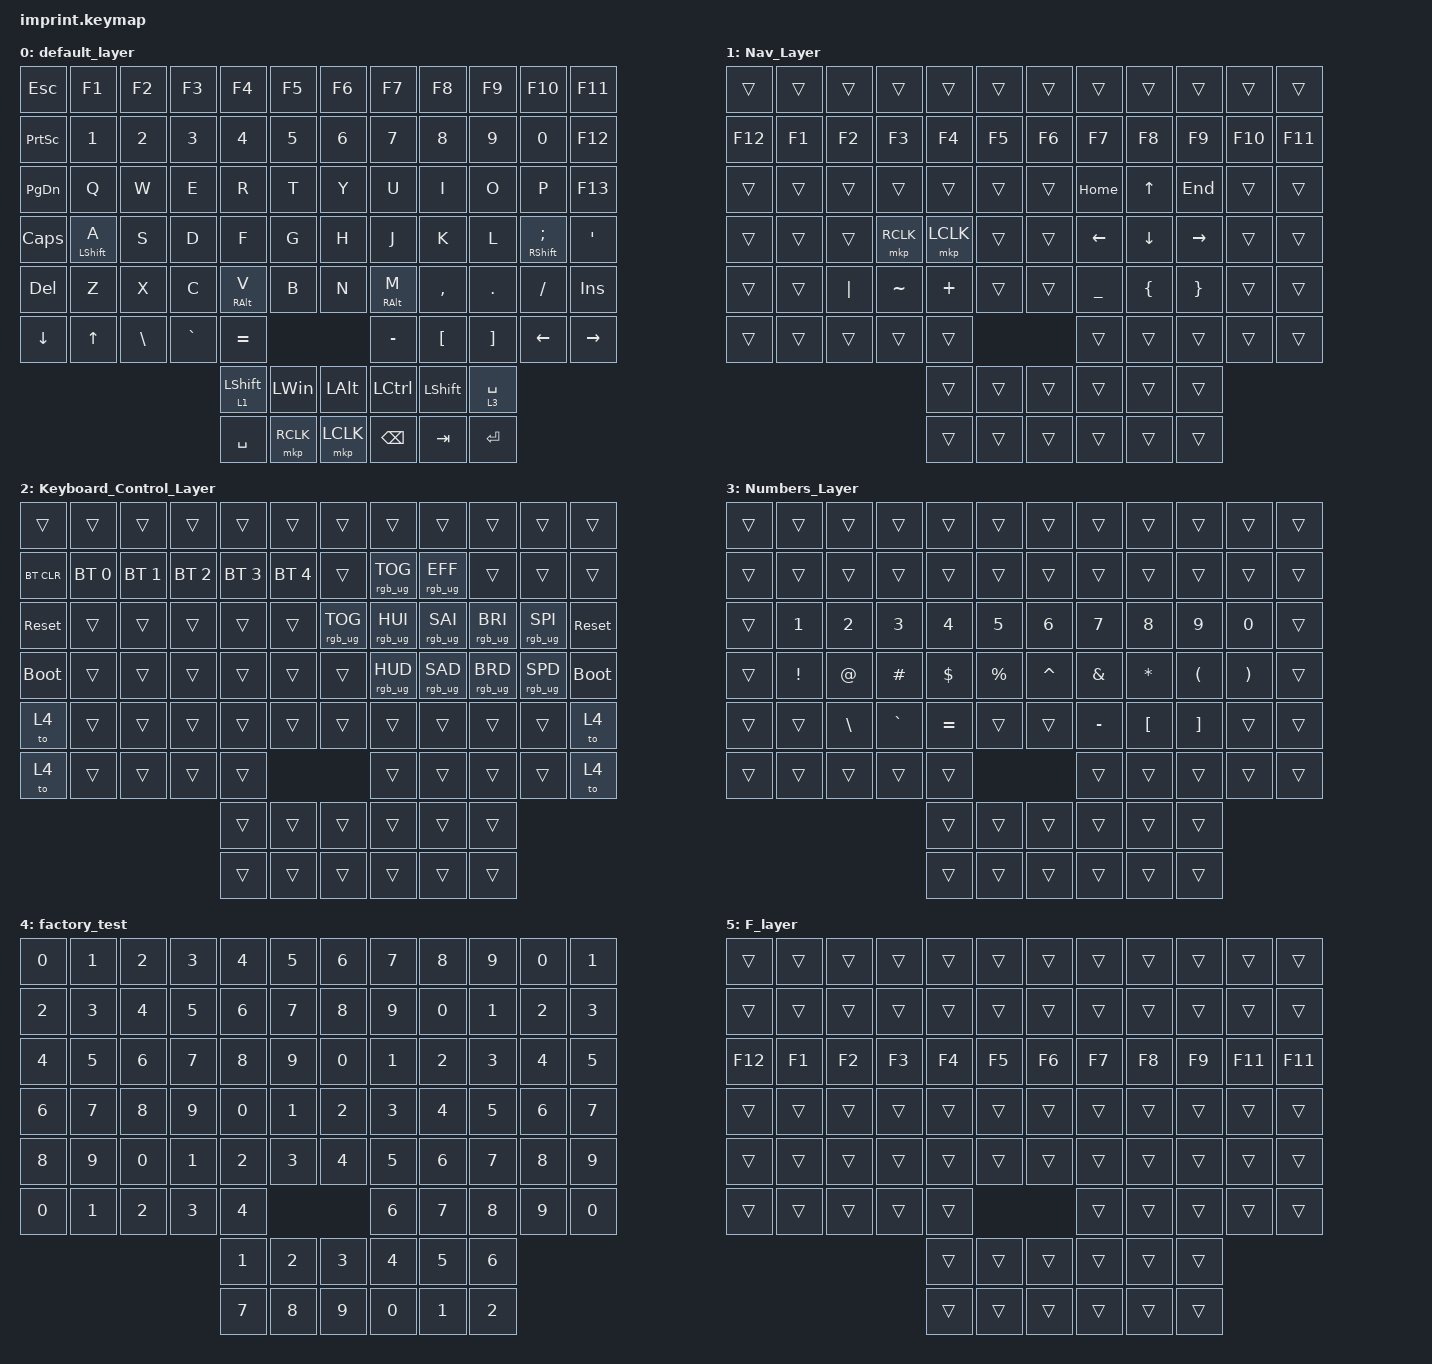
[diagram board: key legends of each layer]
#include <input/processors.dtsi>
#include <dt-bindings/zmk/input_transform.h>
#include <behaviors.dtsi>
#include <dt-bindings/zmk/bt.h>
#include <dt-bindings/zmk/keys.h>
#include <dt-bindings/zmk/pointing.h>
#include <dt-bindings/zmk/rgb.h>

/ {
    chosen { zmk,matrix-transform = &imprint_function_row_full_bottom_row; };

    combos {
        compatible = "zmk,combos";

        delete {
            bindings = <&kp DELETE>;
            key-positions = <32 31>;
        };

        backspace {
            bindings = <&kp BACKSPACE>;
            key-positions = <33 32>;
        };

        enter {
            bindings = <&kp ENTER>;
            key-positions = <55 56>;
        };

        tab {
            bindings = <&kp TAB>;
            key-positions = <28 27>;
        };

        insert {
            bindings = <&kp INS>;
            key-positions = <51 52>;
        };

        escape {
            bindings = <&kp ESCAPE>;
            key-positions = <27 26>;
        };

        left_control {
            bindings = <&kp LEFT_CONTROL>;
            key-positions = <40 39>;
        };

        right_control {
            bindings = <&kp LEFT_CONTROL>;
            key-positions = <43 44>;
        };

        left_alt {
            bindings = <&kp LEFT_ALT>;
            key-positions = <38 39>;
        };

        right_alt {
            bindings = <&kp LEFT_ALT>;
            key-positions = <45 44>;
        };

        control_alt_left {
            bindings = <&kp LA(LCTRL)>;
            key-positions = <40 39 38>;
        };

        control_alt_right {
            bindings = <&kp LA(LCTRL)>;
            key-positions = <43 44 45>;
        };

        win_f {
            bindings = <&kp LG(F)>;
            key-positions = <28 27 26>;
        };

        win_j {
            bindings = <&kp LG(J)>;
            key-positions = <31 32 33>;
        };

        left_win {
            bindings = <&kp LEFT_WIN>;
            key-positions = <52 51 50>;
        };

        right_win {
            bindings = <&kp LEFT_WIN>;
            key-positions = <55 56 57>;
        };

        f_layer {
            bindings = <&mo 5>;
            key-positions = <70 75>;
        };
    };

    macros {
        test: test {
            compatible = "zmk,behavior-macro";
            #binding-cells = <0>;
            bindings = <&none>;
            label = "TEST";
        };
    };

    keymap {
        compatible = "zmk,keymap";

        default_layer {
            bindings = <
&kp ESC          &kp F1            &kp F2         &kp F3     &kp F4            &kp F5                        &kp F6         &kp F7           &kp F8       &kp F9      &kp F10                    &kp F11
&kp PRINTSCREEN  &kp N1            &kp N2         &kp N3     &kp N4            &kp N5                        &kp N6         &kp N7           &kp N8       &kp N9      &kp N0                     &kp F12
&kp PAGE_DOWN    &kp Q             &kp W          &kp E      &kp R             &kp T                         &kp Y          &kp U            &kp I        &kp O       &kp P                      &kp F13
&kp CAPSLOCK     &mt LEFT_SHIFT A  &kp S          &kp D      &kp F             &kp G                         &kp H          &kp J            &kp K        &kp L       &mt RIGHT_SHIFT SEMICOLON  &kp SQT
&kp DEL          &kp Z             &kp X          &kp C      &mt RIGHT_ALT V   &kp B                         &kp N          &mt RIGHT_ALT M  &kp COMMA    &kp PERIOD  &kp SLASH                  &kp INS
&kp DOWN         &kp UP_ARROW      &kp BACKSLASH  &kp GRAVE  &kp EQUAL                                                      &kp MINUS        &kp LBKT     &kp RBKT    &kp LEFT                   &kp RIGHT
                                                             &lt 1 LEFT_SHIFT  &kp LEFT_WIN  &kp LEFT_ALT    &kp LCTRL      &kp LEFT_SHIFT   &lt 3 SPACE
                                                             &kp SPACE         &mkp RCLK     &mkp LCLK       &kp BACKSPACE  &kp TAB          &kp ENTER
            >;
        };

        Nav_Layer {
            bindings = <
&trans   &trans  &trans    &trans     &trans     &trans            &trans  &trans          &trans          &trans           &trans   &trans
&kp F12  &kp F1  &kp F2    &kp F3     &kp F4     &kp F5            &kp F6  &kp F7          &kp F8          &kp F9           &kp F10  &kp F11
&trans   &trans  &trans    &trans     &trans     &trans            &trans  &kp HOME        &kp UP          &kp END          &trans   &trans
&trans   &trans  &trans    &mkp RCLK  &mkp LCLK  &trans            &trans  &kp LEFT        &kp DOWN        &kp RIGHT        &trans   &trans
&trans   &trans  &kp PIPE  &kp TILDE  &kp PLUS   &trans            &trans  &kp UNDERSCORE  &kp LEFT_BRACE  &kp RIGHT_BRACE  &trans   &trans
&trans   &trans  &trans    &trans     &trans                               &trans          &trans          &trans           &trans   &trans
                                      &trans     &trans  &trans    &trans  &trans          &trans
                                      &trans     &trans  &trans    &trans  &trans          &trans
            >;
        };

        Keyboard_Control_Layer {
            bindings = <
&trans       &trans        &trans        &trans        &trans        &trans                  &trans           &trans           &trans           &trans           &trans           &trans
&bt BT_CLR   &bt BT_SEL 0  &bt BT_SEL 1  &bt BT_SEL 2  &bt BT_SEL 3  &bt BT_SEL 4            &trans           &rgb_ug RGB_TOG  &rgb_ug RGB_EFF  &trans           &trans           &trans
&sys_reset   &trans        &trans        &trans        &trans        &trans                  &rgb_ug RGB_TOG  &rgb_ug RGB_HUI  &rgb_ug RGB_SAI  &rgb_ug RGB_BRI  &rgb_ug RGB_SPI  &sys_reset
&bootloader  &trans        &trans        &trans        &trans        &trans                  &trans           &rgb_ug RGB_HUD  &rgb_ug RGB_SAD  &rgb_ug RGB_BRD  &rgb_ug RGB_SPD  &bootloader
&to 4        &trans        &trans        &trans        &trans        &trans                  &trans           &trans           &trans           &trans           &trans           &to 4
&to 4        &trans        &trans        &trans        &trans                                                 &trans           &trans           &trans           &trans           &to 4
                                                       &trans        &trans        &trans    &trans           &trans           &trans
                                                       &trans        &trans        &trans    &trans           &trans           &trans
            >;
        };

        Numbers_Layer {
            bindings = <
&trans  &trans           &trans         &trans        &trans        &trans                 &trans        &trans         &trans            &trans                &trans                 &trans
&trans  &trans           &trans         &trans        &trans        &trans                 &trans        &trans         &trans            &trans                &trans                 &trans
&trans  &kp NUMBER_1     &kp NUMBER_2   &kp NUMBER_3  &kp NUMBER_4  &kp N5                 &kp NUMBER_6  &kp N7         &kp N8            &kp N9                &kp N0                 &trans
&trans  &kp EXCLAMATION  &kp AT_SIGN    &kp HASH      &kp DOLLAR    &kp PERCENT            &kp CARET     &kp AMPERSAND  &kp ASTERISK      &kp LEFT_PARENTHESIS  &kp RIGHT_PARENTHESIS  &trans
&trans  &trans           &kp BACKSLASH  &kp GRAVE     &kp EQUAL     &trans                 &trans        &kp MINUS      &kp LEFT_BRACKET  &kp RIGHT_BRACKET     &trans                 &trans
&trans  &trans           &trans         &trans        &trans                                             &trans         &trans            &trans                &trans                 &trans
                                                      &trans        &trans       &trans    &trans        &trans         &trans
                                                      &trans        &trans       &trans    &trans        &trans         &trans
            >;
        };

        factory_test {
            bindings = <
&kp N0  &kp N1  &kp N2  &kp N3  &kp N4  &kp N5            &kp N6  &kp N7  &kp N8  &kp N9  &kp N0  &kp N1
&kp N2  &kp N3  &kp N4  &kp N5  &kp N6  &kp N7            &kp N8  &kp N9  &kp N0  &kp N1  &kp N2  &kp N3
&kp N4  &kp N5  &kp N6  &kp N7  &kp N8  &kp N9            &kp N0  &kp N1  &kp N2  &kp N3  &kp N4  &kp N5
&kp N6  &kp N7  &kp N8  &kp N9  &kp N0  &kp N1            &kp N2  &kp N3  &kp N4  &kp N5  &kp N6  &kp N7
&kp N8  &kp N9  &kp N0  &kp N1  &kp N2  &kp N3            &kp N4  &kp N5  &kp N6  &kp N7  &kp N8  &kp N9
&kp N0  &kp N1  &kp N2  &kp N3  &kp N4                            &kp N6  &kp N7  &kp N8  &kp N9  &kp N0
                                &kp N1  &kp N2  &kp N3    &kp N4  &kp N5  &kp N6
                                &kp N7  &kp N8  &kp N9    &kp N0  &kp N1  &kp N2
            >;
        };

        F_layer {
            bindings = <
&trans   &trans  &trans  &trans  &trans  &trans            &trans  &trans  &trans  &trans  &trans   &trans
&trans   &trans  &trans  &trans  &trans  &trans            &trans  &trans  &trans  &trans  &trans   &trans
&kp F12  &kp F1  &kp F2  &kp F3  &kp F4  &kp F5            &kp F6  &kp F7  &kp F8  &kp F9  &kp F11  &kp F11
&trans   &trans  &trans  &trans  &trans  &trans            &trans  &trans  &trans  &trans  &trans   &trans
&trans   &trans  &trans  &trans  &trans  &trans            &trans  &trans  &trans  &trans  &trans   &trans
&trans   &trans  &trans  &trans  &trans                            &trans  &trans  &trans  &trans   &trans
                                 &trans  &trans  &trans    &trans  &trans  &trans
                                 &trans  &trans  &trans    &trans  &trans  &trans
            >;
        };
    };
};

// right hand trackball configuration
// &trackball_peripheral_listener {
//    input-processors =
//     activate layer 3 within 500ms of the trackball moving
//     <&zip_temp_layer 3 500>;
// };
//left hand trackball configuration

&trackball_central_listener {
    input-processors =
        // multiply sensitivity by 1, divide by 3 (make it slower for scrolling),,,,,,,,,,,,,,,,,,,,,,,,,,,,,,,,,,,,,,,,,,,,,,,,,,,,,,,,,,,,,,,,,,,,,,,,,,
        <&zip_xy_scaler 1 24>,
        // make this trackball output scrolling events by default instead of cursor movement,,,,,,,,,,,,,,,,,,,,,,,,,,,,,,,,,,,,,,,,,,,,,,,,,,,,,,,,,,,,,,,,,,,,,,,,,,
        <&zip_xy_to_scroll_mapper>,
        // invert vertical scrolling so that the view moves in the same direction as the top of the trackball.,,,,,,,,,,,,,,,,,,,,,,,,,,,,,,,,,,,,,,,,,,,,,,,,,,,,,,,,,,,,,,,,,,,,,,,,,,
        <&zip_scroll_transform INPUT_TRANSFORM_Y_INVERT>;
};
